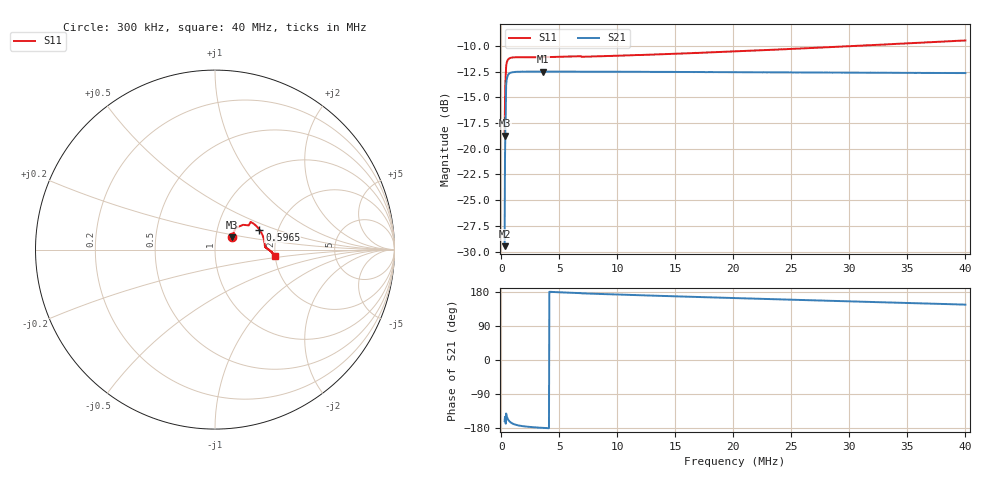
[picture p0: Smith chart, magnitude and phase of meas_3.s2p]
# HZ S RI R 50
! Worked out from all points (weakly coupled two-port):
!   1206 points, 300 kHz to 40 MHz, reference 50 ohm
!   highest |S21| = -12.49 dB at 3.628 MHz (marker M1); lowest = -29.5 dB at 300 kHz (marker M2)
!   lowest |S11| = -18.7 dB at 300 kHz (marker M3), VSWR 1.26, Z = 59.6 + j8.4 ohm
!   |S11| at or under -10 dB: start of sweep to 30.46 MHz; 30.60096 MHz to 30.61703 MHz (16.07 kHz wide, 0.0525 % of centre)
!   S12 and S22 are empty: the file has one direction only
!   S11 on the Smith chart (normalised r, x): 300 kHz: 1.19, +0.17; 596.5 kHz: 1.60, +0.39; 40 MHz: 2.00, -0.16
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300000  0.0926 0.0696  -0.0318 -0.0108  0 0  0 0
398838  0.1884 0.1351  -0.1448 -0.0305  0 0  0 0
530622  0.2355 0.1263  -0.1983 -0.1033  0 0  0 0
563568  0.2422 0.1187  -0.205 -0.0961  0 0  0 0
596514  0.2473 0.1119  -0.2101 -0.09  0 0  0 0
629460  0.2514 0.1059  -0.214 -0.0842  0 0  0 0
695352  0.2575 0.0956  -0.2197 -0.0751  0 0  0 0
761244  0.2618 0.0872  -0.2235 -0.0676  0 0  0 0
893028  0.2675 0.0738  -0.2282 -0.0561  0 0  0 0
1057758  0.2712 0.0621  -0.2313 -0.0459  0 0  0 0
1453110  0.2751 0.045  -0.2347 -0.0314  0 0  0 0
1815516  0.2764 0.0361  -0.2357 -0.0231  0 0  0 0
2276760  0.2771 0.029  -0.2366 -0.016  0 0  0 0
3627546  0.2781 0.0196  -0.2374 -0.00335  0 0  0 0
5867874  0.2805 0.0137  -0.237 0.00983  0 0  0 0
6691524  0.2813 0.0122  -0.2367 0.0139  0 0  0 0
6922146  0.2797 0.0153  -0.2366 0.0168  0 0  0 0
1.354429e7  0.2876 0.00813  -0.2325 0.0435  0 0  0 0
2.016644e7  0.2975 0.00105  -0.2259 0.0674  0 0  0 0
2.678858e7  0.309 -0.00806  -0.2172 0.0896  0 0  0 0
3.341073e7  0.3215 -0.0201  -0.2063 0.1106  0 0  0 0
3.999993e7  0.3344 -0.0347  -0.1937 0.13  0 0  0 0
